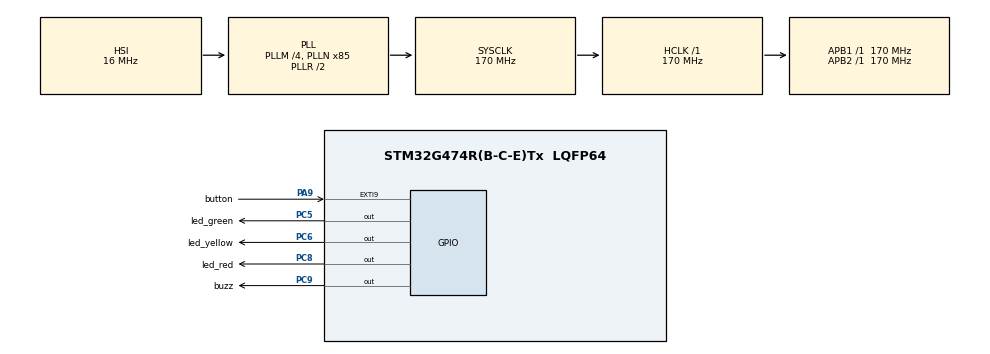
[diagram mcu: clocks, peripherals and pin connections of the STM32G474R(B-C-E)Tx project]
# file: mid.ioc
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Mcu.Family=STM32G4
Mcu.Name=STM32G474R(B-C-E)Tx
Mcu.Package=LQFP64
NVIC.EXTI9_5_IRQn=true\:0\:0\:false\:false\:true\:true\:true\:true
NVIC.PriorityGroup=NVIC_PRIORITYGROUP_4
PA13.GPIO_Label=T_SWDIO
PA13.Signal=SYS_JTMS-SWDIO
PA14.GPIO_Label=T_SWCLK
PA14.Signal=SYS_JTCK-SWCLK
PA2.GPIO_Label=LPUART1_TX [STLINKV3E_VCP_RX]
PA2.Signal=LPUART1_TX
PA3.GPIO_Label=LPUART1_RX [STLINKV3E_VCP_TX]
PA3.Signal=LPUART1_RX
PA9.GPIO_Label=button
PA9.GPIO_ModeDefaultEXTI=GPIO_MODE_IT_FALLING
PA9.GPIO_PuPd=GPIO_PULLUP
PA9.Signal=GPXTI9
PB3.GPIO_Label=T_SWO
PB3.Signal=SYS_JTDO-SWO
PC14-OSC32_IN.GPIO_Label=RCC_OSC32_IN
PC14-OSC32_IN.Signal=RCC_OSC32_IN
PC15-OSC32_OUT.GPIO_Label=RCC_OSC32_OUT
PC15-OSC32_OUT.Signal=RCC_OSC32_OUT
PC5.GPIO_Label=led_green
PC5.Signal=GPIO_Output
PC6.GPIO_Label=led_yellow
PC6.Signal=GPIO_Output
PC8.GPIO_Label=led_red
PC8.Signal=GPIO_Output
PC9.GPIO_Label=buzz
PC9.Signal=GPIO_Output
PF0-OSC_IN.GPIO_Label=RCC_OSC_IN
PF0-OSC_IN.Signal=RCC_OSC_IN
PF1-OSC_OUT.GPIO_Label=RCC_OSC_OUT
PF1-OSC_OUT.Signal=RCC_OSC_OUT
ProjectManager.HeapSize=0x200
ProjectManager.StackSize=0x400
ProjectManager.TargetToolchain=STM32CubeIDE
RCC.ADC12Freq_Value=170000000
RCC.ADC345Freq_Value=170000000
RCC.AHBFreq_Value=170000000
RCC.APB1Freq_Value=170000000
RCC.APB1TimFreq_Value=170000000
RCC.APB2Freq_Value=170000000
RCC.APB2TimFreq_Value=170000000
RCC.CortexFreq_Value=170000000
RCC.EXTERNAL_CLOCK_VALUE=12288000
RCC.HCLKFreq_Value=170000000
RCC.HSE_VALUE=24000000
RCC.HSI48_VALUE=48000000
RCC.HSI_VALUE=16000000
RCC.LSE_VALUE=32768
RCC.PLLM=RCC_PLLM_DIV4
RCC.PLLN=85
RCC.RTCClockSelection=RCC_RTCCLKSOURCE_LSE
RCC.SYSCLKFreq_VALUE=170000000
RCC.SYSCLKSource=RCC_SYSCLKSOURCE_PLLCLK
RCC.USBFreq_Value=170000000
RCC.VCOOutputFreq_Value=340000000
VP_SYS_VS_DBSignals.Mode=DisableDeadBatterySignals
board=NUCLEO-G474RE

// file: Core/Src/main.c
/* USER CODE BEGIN Header */
/**
  ******************************************************************************
  * @file           : main.c
  * @brief          : Main program body
  ******************************************************************************
  * @attention
  *
  * Copyright (c) 2026 STMicroelectronics.
  * All rights reserved.
  *
  * This software is licensed under terms that can be found in the LICENSE file
  * in the root directory of this software component.
  * If no LICENSE file comes with this software, it is provided AS-IS.
  *
  ******************************************************************************
  */
/* USER CODE END Header */
#include "main.h"

/* USER CODE BEGIN PV */
typedef enum {
    STATE_NORMAL = 0,   // 綠燈常亮
    STATE_WARNING,      // 黃燈閃爍 (10秒後)
    STATE_ALARM         // 紅燈閃爍 + 蜂鳴器 (30秒後)
} SystemState_t;

SystemState_t current_state = STATE_NORMAL;

uint32_t last_activity_tick = 0;   // 記錄上次按鈕按下或系統啟動的時間
uint32_t blink_tick = 0;           // 用於控制閃爍頻率的計時器
uint8_t led_toggle = 0;            // 閃爍切換旗標
/* USER CODE END PV */

void SystemClock_Config(void);
static void MX_GPIO_Init(void);

/* USER CODE BEGIN 0 */
void HAL_GPIO_EXTI_Callback(uint16_t GPIO_Pin)
{
    // 假設你的按鈕腳位是 PA9 (對應 EXTI9)
    if (GPIO_Pin == GPIO_PIN_9)
    {
        // 重置計時器
        last_activity_tick = HAL_GetTick();

        // 回到正常狀態
        current_state = STATE_NORMAL;

        // 關閉所有其他輸出，確保綠燈亮
        HAL_GPIO_WritePin(GPIOC, GPIO_PIN_5, GPIO_PIN_SET);   // LED_GREEN ON
        HAL_GPIO_WritePin(GPIOC, GPIO_PIN_6, GPIO_PIN_RESET); // LED_YELLOW OFF
        HAL_GPIO_WritePin(GPIOC, GPIO_PIN_8, GPIO_PIN_RESET); // LED_RED OFF
        HAL_GPIO_WritePin(GPIOC, GPIO_PIN_9, GPIO_PIN_RESET); // BUZZ OFF
    }
}
/* USER CODE END 0 */

int main(void)
{

  /* MCU Configuration--------------------------------------------------------*/

  /* Reset of all peripherals, Initializes the Flash interface and the Systick. */
  HAL_Init();

  /* Configure the system clock */
  SystemClock_Config();

  /* Initialize all configured peripherals */
  MX_GPIO_Init();
  /* USER CODE BEGIN 2 */
  last_activity_tick = HAL_GetTick();
    blink_tick = HAL_GetTick();

    // 初始狀態：綠燈常亮，其他關閉
    HAL_GPIO_WritePin(GPIOC, GPIO_PIN_5, GPIO_PIN_SET);   // PC5: LED_GREEN ON
    HAL_GPIO_WritePin(GPIOC, GPIO_PIN_6, GPIO_PIN_RESET); // PC6: LED_YELLOW OFF
    HAL_GPIO_WritePin(GPIOC, GPIO_PIN_8, GPIO_PIN_RESET); // PC8: LED_RED OFF
    HAL_GPIO_WritePin(GPIOC, GPIO_PIN_9, GPIO_PIN_RESET); // PC9: BUZZ OFF
  /* USER CODE END 2 */

  /* Infinite loop */
  /* USER CODE BEGIN WHILE */
  while (1)
  {
	  uint32_t current_tick = HAL_GetTick();
	        uint32_t elapsed_time = current_tick - last_activity_tick;

	        // 1. 狀態切換邏輯
	        if (elapsed_time >= 30000) {
	            current_state = STATE_ALARM;      // 超過 30 秒 -> 警戒狀態
	        } else if (elapsed_time >= 10000) {
	            current_state = STATE_WARNING;    // 超過 10 秒 -> 警告狀態
	        } else {
	            current_state = STATE_NORMAL;     // 10 秒內 -> 正常狀態
	        }

	        // 2. 狀態行為執行
	        switch (current_state)
	        {
	            case STATE_NORMAL:
	                HAL_GPIO_WritePin(GPIOC, GPIO_PIN_5, GPIO_PIN_SET);   // 綠燈常亮
	                HAL_GPIO_WritePin(GPIOC, GPIO_PIN_6, GPIO_PIN_RESET); // 黃燈滅
	                HAL_GPIO_WritePin(GPIOC, GPIO_PIN_8, GPIO_PIN_RESET); // 紅燈滅
	                HAL_GPIO_WritePin(GPIOC, GPIO_PIN_9, GPIO_PIN_RESET); // 蜂鳴器關
	                break;

	            case STATE_WARNING:
	                HAL_GPIO_WritePin(GPIOC, GPIO_PIN_5, GPIO_PIN_RESET); // 綠燈滅
	                HAL_GPIO_WritePin(GPIOC, GPIO_PIN_8, GPIO_PIN_RESET); // 紅燈滅
	                HAL_GPIO_WritePin(GPIOC, GPIO_PIN_9, GPIO_PIN_RESET); // 蜂鳴器關

	                // 黃燈閃爍 (每 500ms 切換一次)
	                if (current_tick - blink_tick >= 250) {
	                    blink_tick = current_tick;
	                    led_toggle = !led_toggle;
	                    HAL_GPIO_WritePin(GPIOC, GPIO_PIN_6, led_toggle ? GPIO_PIN_SET : GPIO_PIN_RESET);
	                }
	                break;

	            case STATE_ALARM:
	                HAL_GPIO_WritePin(GPIOC, GPIO_PIN_5, GPIO_PIN_RESET); // 綠燈滅
	                HAL_GPIO_WritePin(GPIOC, GPIO_PIN_6, GPIO_PIN_RESET); // 黃燈滅

	                // 紅燈閃爍 + 蜂鳴器同步叫 (每 300ms 切換一次)
	                if (current_tick - blink_tick >= 100) {
	                    blink_tick = current_tick;
	                    led_toggle = !led_toggle;
	                    GPIO_PinState state = led_toggle ? GPIO_PIN_SET : GPIO_PIN_RESET;

	                    HAL_GPIO_WritePin(GPIOC, GPIO_PIN_8, state); // 紅燈閃爍
	                    HAL_GPIO_WritePin(GPIOC, GPIO_PIN_9, state); // 蜂鳴器叫
	                }
	                break;
	        }
	        // 避免 CPU 耗用過高，微幅延遲
	        HAL_Delay(10);
	      /* USER CODE END WHILE */
	    }
	  }
    /* USER CODE END WHILE */

void SystemClock_Config(void)
{
  RCC_OscInitTypeDef RCC_OscInitStruct = {0};
  RCC_ClkInitTypeDef RCC_ClkInitStruct = {0};

  /** Configure the main internal regulator output voltage
  */
  HAL_PWREx_ControlVoltageScaling(PWR_REGULATOR_VOLTAGE_SCALE1_BOOST);

  /** Initializes the RCC Oscillators according to the specified parameters
  * in the RCC_OscInitTypeDef structure.
  */
  RCC_OscInitStruct.OscillatorType = RCC_OSCILLATORTYPE_HSI;
  RCC_OscInitStruct.HSIState = RCC_HSI_ON;
  RCC_OscInitStruct.HSICalibrationValue = RCC_HSICALIBRATION_DEFAULT;
  RCC_OscInitStruct.PLL.PLLState = RCC_PLL_ON;
  RCC_OscInitStruct.PLL.PLLSource = RCC_PLLSOURCE_HSI;
  RCC_OscInitStruct.PLL.PLLM = RCC_PLLM_DIV4;
  RCC_OscInitStruct.PLL.PLLN = 85;
  RCC_OscInitStruct.PLL.PLLP = RCC_PLLP_DIV2;
  RCC_OscInitStruct.PLL.PLLQ = RCC_PLLQ_DIV2;
  RCC_OscInitStruct.PLL.PLLR = RCC_PLLR_DIV2;
  if (HAL_RCC_OscConfig(&RCC_OscInitStruct) != HAL_OK)
  {
    Error_Handler();
  }

  /** Initializes the CPU, AHB and APB buses clocks
  */
  RCC_ClkInitStruct.ClockType = RCC_CLOCKTYPE_HCLK|RCC_CLOCKTYPE_SYSCLK
                              |RCC_CLOCKTYPE_PCLK1|RCC_CLOCKTYPE_PCLK2;
  RCC_ClkInitStruct.SYSCLKSource = RCC_SYSCLKSOURCE_PLLCLK;
  RCC_ClkInitStruct.AHBCLKDivider = RCC_SYSCLK_DIV1;
  RCC_ClkInitStruct.APB1CLKDivider = RCC_HCLK_DIV1;
  RCC_ClkInitStruct.APB2CLKDivider = RCC_HCLK_DIV1;

  if (HAL_RCC_ClockConfig(&RCC_ClkInitStruct, FLASH_LATENCY_4) != HAL_OK)
  {
    Error_Handler();
  }
}

static void MX_GPIO_Init(void)
{
  GPIO_InitTypeDef GPIO_InitStruct = {0};

  /* GPIO Ports Clock Enable */
  __HAL_RCC_GPIOC_CLK_ENABLE();
  __HAL_RCC_GPIOF_CLK_ENABLE();
  __HAL_RCC_GPIOA_CLK_ENABLE();
  __HAL_RCC_GPIOB_CLK_ENABLE();

  /*Configure GPIO pin Output Level */
  HAL_GPIO_WritePin(GPIOC, led_green_Pin|led_yellow_Pin|led_red_Pin|buzz_Pin, GPIO_PIN_RESET);

  /*Configure GPIO pins : LPUART1_TX_Pin LPUART1_RX_Pin */
  GPIO_InitStruct.Pin = LPUART1_TX_Pin|LPUART1_RX_Pin;
  GPIO_InitStruct.Mode = GPIO_MODE_AF_PP;
  GPIO_InitStruct.Pull = GPIO_NOPULL;
  GPIO_InitStruct.Speed = GPIO_SPEED_FREQ_LOW;
  GPIO_InitStruct.Alternate = GPIO_AF12_LPUART1;
  HAL_GPIO_Init(GPIOA, &GPIO_InitStruct);

  /*Configure GPIO pins : led_green_Pin led_yellow_Pin led_red_Pin buzz_Pin */
  GPIO_InitStruct.Pin = led_green_Pin|led_yellow_Pin|led_red_Pin|buzz_Pin;
  GPIO_InitStruct.Mode = GPIO_MODE_OUTPUT_PP;
  GPIO_InitStruct.Pull = GPIO_NOPULL;
  GPIO_InitStruct.Speed = GPIO_SPEED_FREQ_LOW;
  HAL_GPIO_Init(GPIOC, &GPIO_InitStruct);

  /*Configure GPIO pin : button_Pin */
  GPIO_InitStruct.Pin = button_Pin;
  GPIO_InitStruct.Mode = GPIO_MODE_IT_FALLING;
  GPIO_InitStruct.Pull = GPIO_PULLUP;
  HAL_GPIO_Init(button_GPIO_Port, &GPIO_InitStruct);

  /* EXTI interrupt init*/
  HAL_NVIC_SetPriority(EXTI9_5_IRQn, 0, 0);
  HAL_NVIC_EnableIRQ(EXTI9_5_IRQn);

}

void Error_Handler(void)
{
  __disable_irq();
  while (1)
  {
  }
}
